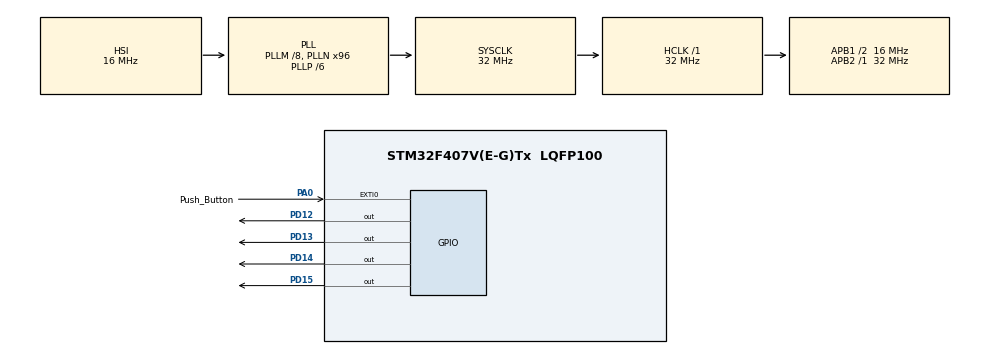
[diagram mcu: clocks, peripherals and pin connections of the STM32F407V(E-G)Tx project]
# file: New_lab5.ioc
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Mcu.Family=STM32F4
Mcu.Name=STM32F407V(E-G)Tx
Mcu.Package=LQFP100
NVIC.EXTI0_IRQn=true\:0\:0\:false\:false\:true\:true\:true\:true
NVIC.PriorityGroup=NVIC_PRIORITYGROUP_4
NVIC.TIM1_BRK_TIM9_IRQn=true\:0\:0\:false\:false\:true\:true\:true\:true
NVIC.TIM1_CC_IRQn=true\:0\:0\:false\:false\:true\:true\:true\:true
NVIC.TIM1_TRG_COM_TIM11_IRQn=true\:0\:0\:false\:false\:true\:true\:true\:true
NVIC.TIM1_UP_TIM10_IRQn=true\:0\:0\:false\:false\:true\:true\:true\:true
PA0-WKUP.GPIO_Label=Push_Button
PA0-WKUP.Signal=GPXTI0
PD12.Signal=GPIO_Output
PD13.Signal=GPIO_Output
PD14.Signal=GPIO_Output
PD15.Signal=GPIO_Output
ProjectManager.HeapSize=0x200
ProjectManager.StackSize=0x400
ProjectManager.TargetToolchain=STM32CubeIDE
RCC.48MHZClocksFreq_Value=48000000
RCC.AHBFreq_Value=32000000
RCC.APB1CLKDivider=RCC_HCLK_DIV2
RCC.APB1Freq_Value=16000000
RCC.APB1TimFreq_Value=32000000
RCC.APB2Freq_Value=32000000
RCC.APB2TimFreq_Value=32000000
RCC.CortexFreq_Value=32000000
RCC.HCLKFreq_Value=32000000
RCC.HSE_VALUE=25000000
RCC.HSI_VALUE=16000000
RCC.LSE_VALUE=32768
RCC.PLLM=8
RCC.PLLN=96
RCC.PLLP=RCC_PLLP_DIV6
RCC.SYSCLKFreq_VALUE=32000000
RCC.SYSCLKSource=RCC_SYSCLKSOURCE_PLLCLK
RCC.VCOOutputFreq_Value=192000000
TIM1.Period=50
TIM1.Prescaler=32000
VP_TIM1_VS_ClockSourceINT.Mode=Internal
board=custom

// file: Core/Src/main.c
/**
  ******************************************************************************
  * @file           : main.c
  * @brief          : Main program body
  ******************************************************************************
  * @attention
  *
  * Copyright (c) 2024 STMicroelectronics.
  * All rights reserved.
  *
  * This software is licensed under terms that can be found in the LICENSE file
  * in the root directory of this software component.
  * If no LICENSE file comes with this software, it is provided AS-IS.
  *
  ******************************************************************************
  */

#include "main.h"

#include <stdbool.h>

#define DEBOUNCE_TIME 50

TIM_HandleTypeDef htim1;
bool state = true;
uint8_t led_index = 0;

void SystemClock_Config(void);
static void MX_GPIO_Init(void);
static void MX_TIM1_Init(void);

int main(void)
{

  /* MCU Configuration--------------------------------------------------------*/

  /* Reset of all peripherals, Initializes the Flash interface and the Systick. */
  HAL_Init();

  /* Configure the system clock */
  SystemClock_Config();

  /* Initialize all configured peripherals */
  MX_GPIO_Init();
  MX_TIM1_Init();

  /* Infinite loop */
  while (1)
  {

  }
}

void SystemClock_Config(void)
{
  RCC_OscInitTypeDef RCC_OscInitStruct = {0};
  RCC_ClkInitTypeDef RCC_ClkInitStruct = {0};

  /** Configure the main internal regulator output voltage
  */
  __HAL_RCC_PWR_CLK_ENABLE();
  __HAL_PWR_VOLTAGESCALING_CONFIG(PWR_REGULATOR_VOLTAGE_SCALE1);

  /** Initializes the RCC Oscillators according to the specified parameters
  * in the RCC_OscInitTypeDef structure.
  */
  RCC_OscInitStruct.OscillatorType = RCC_OSCILLATORTYPE_HSI;
  RCC_OscInitStruct.HSIState = RCC_HSI_ON;
  RCC_OscInitStruct.HSICalibrationValue = RCC_HSICALIBRATION_DEFAULT;
  RCC_OscInitStruct.PLL.PLLState = RCC_PLL_ON;
  RCC_OscInitStruct.PLL.PLLSource = RCC_PLLSOURCE_HSI;
  RCC_OscInitStruct.PLL.PLLM = 8;
  RCC_OscInitStruct.PLL.PLLN = 96;
  RCC_OscInitStruct.PLL.PLLP = RCC_PLLP_DIV6;
  RCC_OscInitStruct.PLL.PLLQ = 4;
  if (HAL_RCC_OscConfig(&RCC_OscInitStruct) != HAL_OK)
  {
    Error_Handler();
  }

  /** Initializes the CPU, AHB and APB buses clocks
  */
  RCC_ClkInitStruct.ClockType = RCC_CLOCKTYPE_HCLK | RCC_CLOCKTYPE_SYSCLK | RCC_CLOCKTYPE_PCLK1 | RCC_CLOCKTYPE_PCLK2;
  RCC_ClkInitStruct.SYSCLKSource = RCC_SYSCLKSOURCE_PLLCLK;
  RCC_ClkInitStruct.AHBCLKDivider = RCC_SYSCLK_DIV1;
  RCC_ClkInitStruct.APB1CLKDivider = RCC_HCLK_DIV2;
  RCC_ClkInitStruct.APB2CLKDivider = RCC_HCLK_DIV1;

  if (HAL_RCC_ClockConfig(&RCC_ClkInitStruct, FLASH_LATENCY_1) != HAL_OK)
  {
    Error_Handler();
  }
}

static void MX_TIM1_Init(void)
{

  TIM_ClockConfigTypeDef sClockSourceConfig = {0};
  TIM_MasterConfigTypeDef sMasterConfig = {0};

  htim1.Instance = TIM1;
  htim1.Init.Prescaler = 32000;
  htim1.Init.CounterMode = TIM_COUNTERMODE_UP;
  htim1.Init.Period = 50;
  htim1.Init.ClockDivision = TIM_CLOCKDIVISION_DIV1;
  htim1.Init.RepetitionCounter = 0;
  htim1.Init.AutoReloadPreload = TIM_AUTORELOAD_PRELOAD_DISABLE;
  if (HAL_TIM_Base_Init(&htim1) != HAL_OK)
  {
    Error_Handler();
  }
  sClockSourceConfig.ClockSource = TIM_CLOCKSOURCE_INTERNAL;
  if (HAL_TIM_ConfigClockSource(&htim1, &sClockSourceConfig) != HAL_OK)
  {
    Error_Handler();
  }
  sMasterConfig.MasterOutputTrigger = TIM_TRGO_RESET;
  sMasterConfig.MasterSlaveMode = TIM_MASTERSLAVEMODE_DISABLE;
  if (HAL_TIMEx_MasterConfigSynchronization(&htim1, &sMasterConfig) != HAL_OK)
  {
    Error_Handler();
  }
}

static void MX_GPIO_Init(void)
{
  GPIO_InitTypeDef GPIO_InitStruct = {0};

  /* GPIO Ports Clock Enable */
  __HAL_RCC_GPIOA_CLK_ENABLE();
  __HAL_RCC_GPIOD_CLK_ENABLE();

  /*Configure GPIO pin Output Level */
  HAL_GPIO_WritePin(GPIOD, GPIO_PIN_12 | GPIO_PIN_13 | GPIO_PIN_14 | GPIO_PIN_15, GPIO_PIN_RESET);

  /*Configure GPIO pin : Push_Button_Pin */
  GPIO_InitStruct.Pin = Push_Button_Pin;
  GPIO_InitStruct.Mode = GPIO_MODE_IT_RISING;
  GPIO_InitStruct.Pull = GPIO_NOPULL;
  HAL_GPIO_Init(Push_Button_GPIO_Port, &GPIO_InitStruct);

  /*Configure GPIO pins : PD12 PD13 PD14 PD15 */
  GPIO_InitStruct.Pin = GPIO_PIN_12 | GPIO_PIN_13 | GPIO_PIN_14 | GPIO_PIN_15;
  GPIO_InitStruct.Mode = GPIO_MODE_OUTPUT_PP;
  GPIO_InitStruct.Pull = GPIO_NOPULL;
  GPIO_InitStruct.Speed = GPIO_SPEED_FREQ_LOW;
  HAL_GPIO_Init(GPIOD, &GPIO_InitStruct);

  /* EXTI interrupt init*/
  HAL_NVIC_SetPriority(EXTI0_IRQn, 0, 0);
  HAL_NVIC_EnableIRQ(EXTI0_IRQn);
}

/* USER CODE BEGIN 4 */
void HAL_GPIO_EXTI_Callback(uint16_t GPIO_Pin)
{
  if (GPIO_Pin == Push_Button_Pin)
  {
    HAL_TIM_Base_Start_IT(&htim1);
  }
}

void HAL_TIM_PeriodElapsedCallback(TIM_HandleTypeDef *htim)
{
  if (htim->Instance == TIM1)
  {
    if (HAL_GPIO_ReadPin(Push_Button_GPIO_Port, Push_Button_Pin) == GPIO_PIN_SET)
    {
      HAL_TIM_Base_Stop_IT(&htim1);

      if (HAL_GPIO_ReadPin(Push_Button_GPIO_Port, Push_Button_Pin) == GPIO_PIN_SET)
      {
        HAL_GPIO_WritePin(GPIOD, GPIO_PIN_12 | GPIO_PIN_13 | GPIO_PIN_14 | GPIO_PIN_15, GPIO_PIN_RESET);
        switch (led_index)
        {
        case 0:
          HAL_GPIO_WritePin(GPIOD, GPIO_PIN_12, GPIO_PIN_SET);
          break;
        case 1:
          HAL_GPIO_WritePin(GPIOD, GPIO_PIN_13, GPIO_PIN_SET);
          break;
        case 2:
          HAL_GPIO_WritePin(GPIOD, GPIO_PIN_14, GPIO_PIN_SET);
          break;
        case 3:
          HAL_GPIO_WritePin(GPIOD, GPIO_PIN_15, GPIO_PIN_SET);
          break;
        default:
          break;
        }

        led_index = (led_index + 1) % 4;
      }
    }
  }
}

/* USER CODE END 4 */

void Error_Handler(void)
{
  while (1)
  {
  }
}
